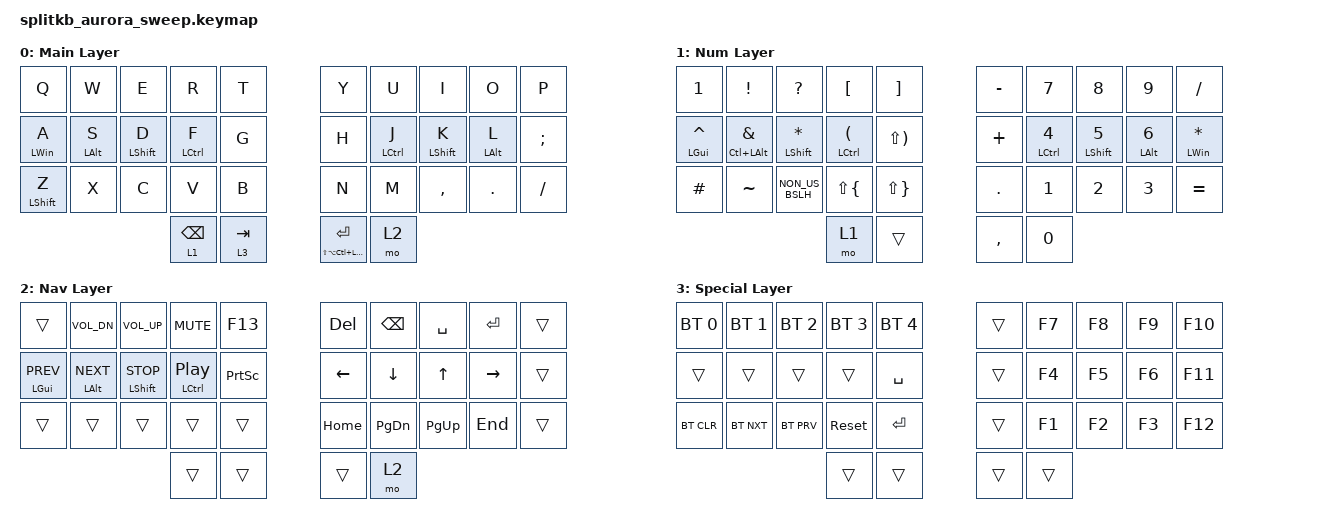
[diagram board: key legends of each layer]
/*
 * Copyright (c) 2022 The ZMK Contributors
 *
 * SPDX-License-Identifier: MIT
 */

#include <behaviors.dtsi>
#include <dt-bindings/zmk/bt.h>
#include <dt-bindings/zmk/keys.h>

&mt {
    //  flavor = "tap-preferred";
    // tapping-term-ms = <200>;
};

/ {
    combos {
        compatible = "zmk,combos";

        combo_esc {
            timeout-ms = <50>;
            key-positions = <0 1>;
            bindings = <&kp ESC>;
        };

        combo_tab {
            timeout-ms = <50>;
            key-positions = <10 11>;
            bindings = <&kp TAB>;
        };

        combo_ralt {
            timeout-ms = <50>;
            key-positions = <17 16>;
            bindings = <&kp RALT>;
        };

        combo_lalt {
            timeout-ms = <50>;
            key-positions = <11 12>;
            bindings = <&kp LALT>;
        };

        combo_lgui {
            timeout-ms = <50>;
            key-positions = <12 13>;
            bindings = <&kp LGUI>;
        };

        combo_rgui {
            timeout-ms = <50>;
            key-positions = <17 18>;
            bindings = <&kp RGUI>;
        };
    };

    keymap {
        compatible = "zmk,keymap";

        main_layer {
            display-name = "Main Layer";
            bindings = <
&kp Q            &kp W           &kp E             &kp R        &kp T    &kp Y  &kp U        &kp I             &kp O                           &kp P
&mt LEFT_WIN A   &mt LEFT_ALT S  &mt LEFT_SHIFT D  &mt LCTRL F  &kp G    &kp H  &mt LCTRL J  &mt LEFT_SHIFT K  &mt LEFT_ALT L                  &kp SEMICOLON
&mt LSHFT Z      &kp X           &kp C             &kp V        &kp B    &kp N  &kp M        &kp COMMA         &kp DOT                         &kp SLASH
&lt 1 BACKSPACE  &lt 3 TAB                                                                                     &mt LS(LA(LC(LEFT_WIN))) ENTER  &mo 2
            >;
        };

        num_layer {
            display-name = "Num Layer";
            bindings = <
&kp N1              &kp EXCLAMATION             &kp QUESTION             &kp LBKT                    &kp RBKT        &kp MINUS   &kp N7        &kp N8             &kp N9           &kp SLASH
&mt LEFT_GUI CARET  &mt LC(LEFT_ALT) AMPERSAND  &mt LEFT_SHIFT ASTERISK  &mt LCTRL LEFT_PARENTHESIS  &kp LS(RPAR)    &kp PLUS    &mt LCTRL N4  &mt LEFT_SHIFT N5  &mt LEFT_ALT N6  &mt LWIN ASTERISK
&kp HASH            &kp TILDE                   &kp NON_US_BSLH          &kp LS(LEFT_BRACE)          &kp LS(RBRC)    &kp PERIOD  &kp N1        &kp N2             &kp N3           &kp EQUAL
&mo 1               &trans                                                                                                                                        &kp COMMA        &kp N0
            >;
        };

        nav_layer {
            display-name = "Nav Layer";
            bindings = <
&trans               &kp C_VOL_DN         &kp C_VOLUME_UP        &kp C_MUTE                     &kp F13            &kp DEL   &kp BACKSPACE  &kp SPACE     &kp ENTER  &trans
&mt LEFT_GUI C_PREV  &mt LEFT_ALT C_NEXT  &mt LEFT_SHIFT C_STOP  &mt LEFT_CONTROL C_PLAY_PAUSE  &kp PRINTSCREEN    &kp LEFT  &kp DOWN       &kp UP_ARROW  &kp RIGHT  &trans
&trans               &trans               &trans                 &trans                         &trans             &kp HOME  &kp PAGE_DOWN  &kp PAGE_UP   &kp END    &trans
&trans               &trans                                                                                                                               &trans     &mo 2
            >;
        };

        special_layer {
            display-name = "Special Layer";
            bindings = <
&bt BT_SEL 0  &bt BT_SEL 1  &bt BT_SEL 2  &bt BT_SEL 3  &bt BT_SEL 4    &trans  &kp F7  &kp F8  &kp F9  &kp F10
&trans        &trans        &trans        &trans        &kp SPACE       &trans  &kp F4  &kp F5  &kp F6  &kp F11
&bt BT_CLR    &bt BT_NXT    &bt BT_PRV    &sys_reset    &kp ENTER       &trans  &kp F1  &kp F2  &kp F3  &kp F12
&trans        &trans                                                                            &trans  &trans
            >;
        };
    };
};
